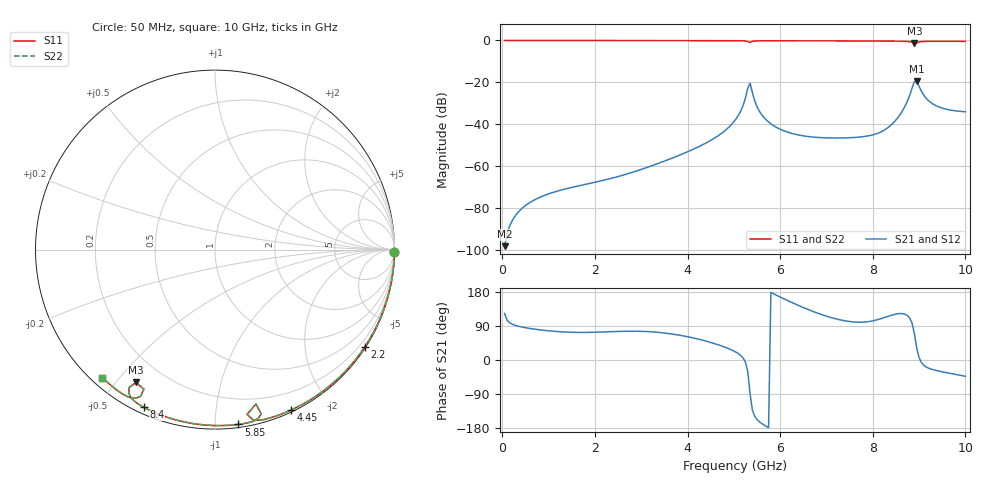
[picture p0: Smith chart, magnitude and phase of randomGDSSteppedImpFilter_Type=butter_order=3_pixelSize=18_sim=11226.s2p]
! freq	dB(S11)	phase(S11)	dB(S12)	phase(S12)
!  dB(S21)	phase(S21)	dB(S22)	phase(S22)
!S-par simulation data
#  GHz  S  DB  R 50
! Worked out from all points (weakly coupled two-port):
!   200 points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, 50 MHz to 10 GHz, reference 50 ohm
!   highest |S21| = -19.52 dB at 8.95 GHz (marker M1); lowest = -98.2 dB at 50 MHz (marker M2)
!   lowest |S11| = -1.3 dB at 8.9 GHz (marker M3), VSWR 13.42, Z = 4.92 - j28.2 ohm
!   |S11| at or under -10 dB: nowhere
!   |S22| runs from -1.3 to 0.0 dB; largest |S21 - S12| = 0
!   S11 on the Smith chart (normalised r, x): 50 MHz: open; 2.2 GHz: 0.03, -3.38; 4.45 GHz: 0.02, -1.58; 5.85 GHz: 0.02, -1.14; 8.4 GHz: 0.03, -0.65; 10 GHz: 0.03, -0.45
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0.05  -0.00 -0.8  -98.22 122.9  -98.22 122.9  -0.00 -0.8
0.45  -0.01 -6.9  -79.72 86.4  -79.72 86.4  -0.01 -6.9
0.95  -0.02 -14.4  -73.64 77.6  -73.64 77.6  -0.02 -14.4
1.75  -0.03 -26.3  -68.93 72.8  -68.93 72.8  -0.03 -26.3
2.2  -0.04 -33.0  -66.70 74.1  -66.70 74.1  -0.04 -33.0
3.4  -0.07 -50.2  -58.45 72.6  -58.45 72.6  -0.07 -50.2
4.45  -0.09 -64.8  -48.33 48.1  -48.33 48.1  -0.09 -64.8
5.05  -0.12 -73.3  -37.37 20.4  -37.37 20.4  -0.12 -73.3
5.2  -0.18 -76.1  -31.02 5.2  -31.02 5.2  -0.18 -76.1
5.35  -1.01 -75.1  -20.39 -89.0  -20.39 -89.0  -1.01 -75.1
5.55  -0.17 -77.9  -33.73 -162.7  -33.73 -162.7  -0.17 -77.9
5.85  -0.15 -82.3  -40.56 175.2  -40.56 175.2  -0.15 -82.3
6.7  -0.19 -93.3  -46.11 128.6  -46.11 128.6  -0.19 -93.3
7.8  -0.26 -106.8  -45.92 100.0  -45.92 100.0  -0.26 -106.8
8.35  -0.31 -113.7  -41.23 116.2  -41.23 116.2  -0.31 -113.7
8.4  -0.32 -114.3  -40.29 118.1  -40.29 118.1  -0.32 -114.3
8.7  -0.42 -118.8  -31.23 120.6  -31.23 120.6  -0.42 -118.8
8.9  -1.30 -120.8  -19.61 68.7  -19.61 68.7  -1.30 -120.8
8.95  -1.18 -117.0  -19.52 31.1  -19.52 31.1  -1.18 -117.0
9.1  -0.47 -119.2  -26.09 -13.7  -26.09 -13.7  -0.47 -119.2
9.3  -0.40 -122.6  -30.34 -25.5  -30.34 -25.5  -0.40 -122.6
10  -0.45 -131.4  -34.05 -43.0  -34.05 -43.0  -0.45 -131.4
